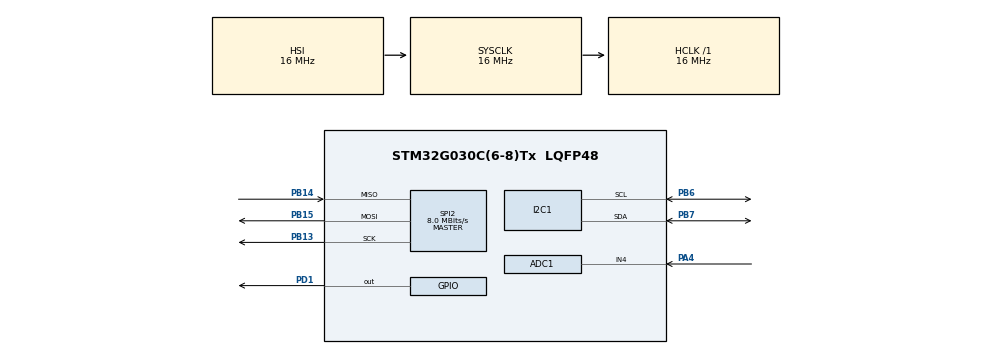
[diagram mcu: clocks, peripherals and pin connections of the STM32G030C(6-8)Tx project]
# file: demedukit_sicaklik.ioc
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ADC1.Channel-0\#ChannelRegularConversion=ADC_CHANNEL_4
ADC1.ContinuousConvMode=ENABLE
ADC1.NbrOfConversionFlag=1
ADC1.Rank-0\#ChannelRegularConversion=1
ADC1.SamplingTime-0\#ChannelRegularConversion=ADC_SAMPLINGTIME_COMMON_1
ADC1.SelectedChannel=ADC_CHANNEL_4
ADC1.master=1
Mcu.Family=STM32G0
Mcu.Name=STM32G030C(6-8)Tx
Mcu.Package=LQFP48
PA13.Mode=Serial_Wire
PA13.Signal=SYS_SWDIO
PA14-BOOT0.Mode=Serial_Wire
PA14-BOOT0.Signal=SYS_SWCLK
PA4.Mode=IN4
PA4.Signal=ADC1_IN4
PB13.Mode=Full_Duplex_Master
PB13.Signal=SPI2_SCK
PB14.Mode=Full_Duplex_Master
PB14.Signal=SPI2_MISO
PB15.Mode=Full_Duplex_Master
PB15.Signal=SPI2_MOSI
PB6.Mode=I2C
PB6.Signal=I2C1_SCL
PB7.Mode=I2C
PB7.Signal=I2C1_SDA
PC14-OSC32_IN\ (PC14).Mode=LSE-External-Oscillator
PC14-OSC32_IN\ (PC14).Signal=RCC_OSC32_IN
PC15-OSC32_OUT\ (PC15).Mode=LSE-External-Oscillator
PC15-OSC32_OUT\ (PC15).Signal=RCC_OSC32_OUT
PD1.Signal=GPIO_Output
PF0-OSC_IN\ (PF0).Mode=HSE-External-Oscillator
PF0-OSC_IN\ (PF0).Signal=RCC_OSC_IN
PF1-OSC_OUT\ (PF1).Mode=HSE-External-Oscillator
PF1-OSC_OUT\ (PF1).Signal=RCC_OSC_OUT
ProjectManager.HeapSize=0x200
ProjectManager.StackSize=0x400
ProjectManager.TargetToolchain=STM32CubeIDE
RCC.AHBFreq_Value=16000000
RCC.CortexFreq_Value=16000000
RCC.EXTERNAL_CLOCK_VALUE=12288000
RCC.HCLKFreq_Value=16000000
RCC.HSE_VALUE=8000000
RCC.HSI_VALUE=16000000
RCC.SYSCLKFreq_VALUE=16000000
RCC.VCOOutputFreq_Value=128000000
SPI2.CalculateBaudRate=8.0 MBits/s
SPI2.Direction=SPI_DIRECTION_2LINES
SPI2.Mode=SPI_MODE_MASTER
SPI2.VirtualType=VM_MASTER
board=custom

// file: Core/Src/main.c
/* USER CODE BEGIN Header */
/**
  ******************************************************************************
  * @file           : main.c
  * @brief          : Main program body
  ******************************************************************************
  * @attention
  *
  * Copyright (c) 2024 STMicroelectronics.
  * All rights reserved.
  *
  * This software is licensed under terms that can be found in the LICENSE file
  * in the root directory of this software component.
  * If no LICENSE file comes with this software, it is provided AS-IS.
  *
  ******************************************************************************
  */
/* USER CODE END Header */
#include "main.h"

/* USER CODE BEGIN Includes */
#include "ssd1306.h"
#include "stdio.h"
#include "string.h"
#include "math.h"
#include "ssd1306_tests.h"

double termistor(uint32_t analogValue)
{
	double temperature;
	uint32_t adcval = 4096-analogValue;
	temperature = log((adcval*10000)/(4095-adcval));
	temperature = 1 / (0.001129148 + (0.000234125 + (0.0000000876741 * temperature * temperature)) * temperature);
	temperature = temperature - 273.15;
	return temperature;

}
/* USER CODE END Includes */

/* USER CODE BEGIN PTD */
double temp1;
/* USER CODE END PTD */

ADC_HandleTypeDef hadc1;

I2C_HandleTypeDef hi2c1;

SPI_HandleTypeDef hspi2;

void SystemClock_Config(void);
static void MX_GPIO_Init(void);
static void MX_I2C1_Init(void);
static void MX_SPI2_Init(void);
static void MX_ADC1_Init(void);

/* USER CODE BEGIN 0 */
char buffer[10];
/* USER CODE END 0 */

int main(void)
{

  /* MCU Configuration--------------------------------------------------------*/

  /* Reset of all peripherals, Initializes the Flash interface and the Systick. */
  HAL_Init();

  /* Configure the system clock */
  SystemClock_Config();

  /* Initialize all configured peripherals */
  MX_GPIO_Init();
  MX_I2C1_Init();
  MX_SPI2_Init();
  MX_ADC1_Init();
  /* USER CODE BEGIN 2 */
  volatile uint32_t adcValues[10];
  HAL_ADC_Start(&hadc1);

ssd1306_Init();
ssd1306_Fill(Black);
  /* USER CODE END 2 */

  /* Infinite loop */
  /* USER CODE BEGIN WHILE */
  while (1)
  {
	  HAL_ADC_PollForConversion(&hadc1, 50);
	  adcValues[2] = HAL_ADC_GetValue(&hadc1);
	  temp1 = (termistor(adcValues[2]) - 10);
	  snprintf(buffer, 10, "%f", temp1);
		ssd1306_SetCursor(15, 2);
		ssd1306_WriteString("SICAKLIK", Font_16x26, White);
		ssd1306_SetCursor(14, 27);
		ssd1306_WriteString(buffer, Font_11x18, White);
		ssd1306_SetCursor(45, 46);
		ssd1306_UpdateScreen();

if(temp1 > 23)
{
HAL_GPIO_WritePin(GPIOD, GPIO_PIN_1, 1);
}
else
{
	HAL_GPIO_WritePin(GPIOD, GPIO_PIN_1, 0);
}
HAL_Delay(1000);
	  /*char tmp[10] = {0};
ssd1306_UpdateScreen();
sprintf(Tmp, "½.2fC", Temp1);
ssd1306_SetCursor(2, 28);
*/
    /* USER CODE END WHILE */

  }
}

void SystemClock_Config(void)
{
  RCC_OscInitTypeDef RCC_OscInitStruct = {0};
  RCC_ClkInitTypeDef RCC_ClkInitStruct = {0};

  /** Configure the main internal regulator output voltage
  */
  HAL_PWREx_ControlVoltageScaling(PWR_REGULATOR_VOLTAGE_SCALE1);

  /** Initializes the RCC Oscillators according to the specified parameters
  * in the RCC_OscInitTypeDef structure.
  */
  RCC_OscInitStruct.OscillatorType = RCC_OSCILLATORTYPE_HSI;
  RCC_OscInitStruct.HSIState = RCC_HSI_ON;
  RCC_OscInitStruct.HSIDiv = RCC_HSI_DIV1;
  RCC_OscInitStruct.HSICalibrationValue = RCC_HSICALIBRATION_DEFAULT;
  RCC_OscInitStruct.PLL.PLLState = RCC_PLL_NONE;
  if (HAL_RCC_OscConfig(&RCC_OscInitStruct) != HAL_OK)
  {
    Error_Handler();
  }

  /** Initializes the CPU, AHB and APB buses clocks
  */
  RCC_ClkInitStruct.ClockType = RCC_CLOCKTYPE_HCLK|RCC_CLOCKTYPE_SYSCLK
                              |RCC_CLOCKTYPE_PCLK1;
  RCC_ClkInitStruct.SYSCLKSource = RCC_SYSCLKSOURCE_HSI;
  RCC_ClkInitStruct.AHBCLKDivider = RCC_SYSCLK_DIV1;
  RCC_ClkInitStruct.APB1CLKDivider = RCC_HCLK_DIV1;

  if (HAL_RCC_ClockConfig(&RCC_ClkInitStruct, FLASH_LATENCY_0) != HAL_OK)
  {
    Error_Handler();
  }
}

static void MX_ADC1_Init(void)
{

  ADC_ChannelConfTypeDef sConfig = {0};

  /** Configure the global features of the ADC (Clock, Resolution, Data Alignment and number of conversion)
  */
  hadc1.Instance = ADC1;
  hadc1.Init.ClockPrescaler = ADC_CLOCK_SYNC_PCLK_DIV2;
  hadc1.Init.Resolution = ADC_RESOLUTION_12B;
  hadc1.Init.DataAlign = ADC_DATAALIGN_RIGHT;
  hadc1.Init.ScanConvMode = ADC_SCAN_DISABLE;
  hadc1.Init.EOCSelection = ADC_EOC_SINGLE_CONV;
  hadc1.Init.LowPowerAutoWait = DISABLE;
  hadc1.Init.LowPowerAutoPowerOff = DISABLE;
  hadc1.Init.ContinuousConvMode = ENABLE;
  hadc1.Init.NbrOfConversion = 1;
  hadc1.Init.ExternalTrigConv = ADC_SOFTWARE_START;
  hadc1.Init.ExternalTrigConvEdge = ADC_EXTERNALTRIGCONVEDGE_NONE;
  hadc1.Init.DMAContinuousRequests = DISABLE;
  hadc1.Init.Overrun = ADC_OVR_DATA_PRESERVED;
  hadc1.Init.SamplingTimeCommon1 = ADC_SAMPLETIME_1CYCLE_5;
  hadc1.Init.SamplingTimeCommon2 = ADC_SAMPLETIME_1CYCLE_5;
  hadc1.Init.OversamplingMode = DISABLE;
  hadc1.Init.TriggerFrequencyMode = ADC_TRIGGER_FREQ_HIGH;
  if (HAL_ADC_Init(&hadc1) != HAL_OK)
  {
    Error_Handler();
  }

  /** Configure Regular Channel
  */
  sConfig.Channel = ADC_CHANNEL_4;
  sConfig.Rank = ADC_REGULAR_RANK_1;
  sConfig.SamplingTime = ADC_SAMPLINGTIME_COMMON_1;
  if (HAL_ADC_ConfigChannel(&hadc1, &sConfig) != HAL_OK)
  {
    Error_Handler();
  }

}

static void MX_I2C1_Init(void)
{

  hi2c1.Instance = I2C1;
  hi2c1.Init.Timing = 0x00303D5B;
  hi2c1.Init.OwnAddress1 = 0;
  hi2c1.Init.AddressingMode = I2C_ADDRESSINGMODE_7BIT;
  hi2c1.Init.DualAddressMode = I2C_DUALADDRESS_DISABLE;
  hi2c1.Init.OwnAddress2 = 0;
  hi2c1.Init.OwnAddress2Masks = I2C_OA2_NOMASK;
  hi2c1.Init.GeneralCallMode = I2C_GENERALCALL_DISABLE;
  hi2c1.Init.NoStretchMode = I2C_NOSTRETCH_DISABLE;
  if (HAL_I2C_Init(&hi2c1) != HAL_OK)
  {
    Error_Handler();
  }

  /** Configure Analogue filter
  */
  if (HAL_I2CEx_ConfigAnalogFilter(&hi2c1, I2C_ANALOGFILTER_ENABLE) != HAL_OK)
  {
    Error_Handler();
  }

  /** Configure Digital filter
  */
  if (HAL_I2CEx_ConfigDigitalFilter(&hi2c1, 0) != HAL_OK)
  {
    Error_Handler();
  }

}

static void MX_SPI2_Init(void)
{

  /* SPI2 parameter configuration*/
  hspi2.Instance = SPI2;
  hspi2.Init.Mode = SPI_MODE_MASTER;
  hspi2.Init.Direction = SPI_DIRECTION_2LINES;
  hspi2.Init.DataSize = SPI_DATASIZE_8BIT;
  hspi2.Init.CLKPolarity = SPI_POLARITY_LOW;
  hspi2.Init.CLKPhase = SPI_PHASE_1EDGE;
  hspi2.Init.NSS = SPI_NSS_SOFT;
  hspi2.Init.BaudRatePrescaler = SPI_BAUDRATEPRESCALER_2;
  hspi2.Init.FirstBit = SPI_FIRSTBIT_MSB;
  hspi2.Init.TIMode = SPI_TIMODE_DISABLE;
  hspi2.Init.CRCCalculation = SPI_CRCCALCULATION_DISABLE;
  hspi2.Init.CRCPolynomial = 7;
  hspi2.Init.CRCLength = SPI_CRC_LENGTH_DATASIZE;
  hspi2.Init.NSSPMode = SPI_NSS_PULSE_ENABLE;
  if (HAL_SPI_Init(&hspi2) != HAL_OK)
  {
    Error_Handler();
  }

}

static void MX_GPIO_Init(void)
{
  GPIO_InitTypeDef GPIO_InitStruct = {0};

  /* GPIO Ports Clock Enable */
  __HAL_RCC_GPIOC_CLK_ENABLE();
  __HAL_RCC_GPIOF_CLK_ENABLE();
  __HAL_RCC_GPIOA_CLK_ENABLE();
  __HAL_RCC_GPIOB_CLK_ENABLE();
  __HAL_RCC_GPIOD_CLK_ENABLE();

  /*Configure GPIO pin Output Level */
  HAL_GPIO_WritePin(GPIOD, GPIO_PIN_1, GPIO_PIN_RESET);

  /*Configure GPIO pin : PD1 */
  GPIO_InitStruct.Pin = GPIO_PIN_1;
  GPIO_InitStruct.Mode = GPIO_MODE_OUTPUT_PP;
  GPIO_InitStruct.Pull = GPIO_NOPULL;
  GPIO_InitStruct.Speed = GPIO_SPEED_FREQ_LOW;
  HAL_GPIO_Init(GPIOD, &GPIO_InitStruct);

}

void Error_Handler(void)
{
  __disable_irq();
  while (1)
  {
  }
}
